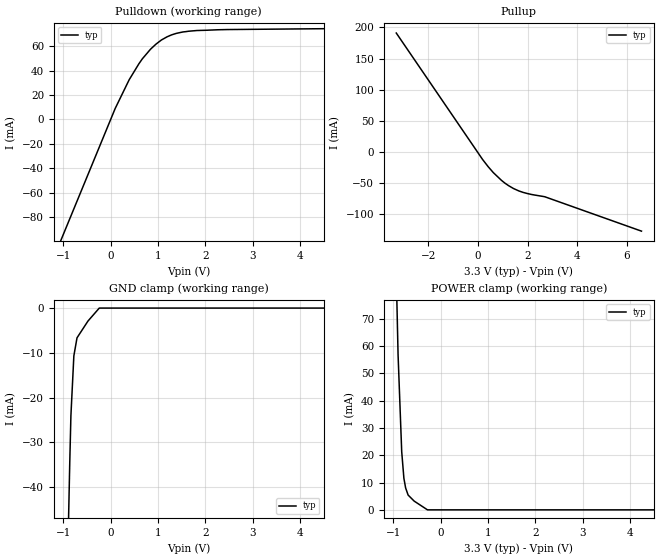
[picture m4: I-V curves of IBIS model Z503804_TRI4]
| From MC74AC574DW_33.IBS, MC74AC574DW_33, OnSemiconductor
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| (C) COPYRIGHT 1993-2000
| MENTOR GRAPHICS CORPORATION
| ICX STANDARD LIBRARY, ICX PROJECT MODELING,
| ICX CUSTOM MODELING, ICX VENDOR MODEL
| ALL RIGHTS RESERVED.
| THE FOLLOWING ARE TRADEMARKS OR SERVICE MARKS OF
| MENTOR GRAPHICS CORPORATION:ICX (R), ICX STANDARD
| LIBRARY(R), ICX PROJECT MODELING(R), ICX CUSTOM
| MODELING(R), qualityIBIS(TM), MODELVIEWER(TM),
| AND MODELEDITOR(TM)
| ALL COPIES OF SOFTWARE, INCLUDING BUT NOT LIMITED TO
| ANY MODIFICATIONS, ENHANCEMENTS OR DERIVATIVE WORKS,
| MUST CONTAIN ALL MENTOR GRAPHICS CORPORATION'S
| NOTICES AND LEGENDS, INCLUDING THOSE EMBEDDED IN
| SOFTWARE AND THOSE AFFIXED TO SOFTWARE MEDIUM
| AND CONTAINER, AS RECEIVED FROM MENTOR GRAPHICS
| CORPORATION.
| Model Application Version 1.89 2/18/99.
[Model] Z503804_TRI4
Model_type 3-state
Vref=0.000V
Rref=500.0ohms
Cref=50.00pF
Vmeas=1.650V
C_comp 8.000pF NA NA
| variable typ   min   max
[Voltage Range] 3.300V NA NA
[POWER Clamp Reference] 3.300V NA NA
[Pullup Reference] 3.300V NA NA
[Pulldown Reference] 0.000V NA NA
[GND Clamp Reference] 0.000V NA NA
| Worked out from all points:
|   slope of the pulldown table from 0 to 0.495 V, typ, clamps not added: 12.6 ohm
|   slope of the pullup table from 0 to 0.495 V, typ, clamps not added: 18.9 ohm
|   GND clamp passes 1 mA (typ) near -0.32 V on its own axis
[GND Clamp]
-3.3V     -1.245A    NA         NA
-863.6mV  -34.71mA   NA         NA
-838.9mV  -24.04mA   NA         NA
-776.6mV  -10.68mA   NA         NA
-710mV    -6.657mA   NA         NA
-478.9mV  -2.908mA   NA         NA
-239.4mV  0A         NA         NA
6.6V      0A         NA         NA
[Pulldown]
-3.3V     -311.1mA   NA         NA
97.35mV   9.079mA    NA         NA
392.2mV   32.58mA    NA         NA
670.9mV   49.76mA    NA         NA
842.5mV   57.59mA    NA         NA
959.5mV   61.82mA    NA         NA
1.192V    67.77mA    NA         NA
1.529V    71.78mA    NA         NA
2.263V    73.57mA    NA         NA
6.6V      75.18mA    NA         NA
[Pullup]
-3.3V     190.9mA    NA         NA
184mV     -11.9mA    NA         NA
619mV     -33.04mA   NA         NA
947mV     -45.43mA   NA         NA
1.236V    -53.97mA   NA         NA
1.647V    -62.38mA   NA         NA
2.142V    -67.91mA   NA         NA
2.698V    -71.76mA   NA         NA
6.6V      -126.9mA   NA         NA
[POWER Clamp]
-3.3V     1.915A     NA         NA
-903mV    56.82mA    NA         NA
-826mV    21.29mA    NA         NA
-780mV    11.58mA    NA         NA
-743mV    7.999mA    NA         NA
-690mV    5.404mA    NA         NA
-563mV    3.207mA    NA         NA
-281.5mV  0A         NA         NA
6.6V      0A         NA         NA
[Ramp]
| variable typ min max
dV/dt_r 1.925/922.1p NA NA
dV/dt_f 1.925/861.1p NA NA
R_load = 500.0Ohms
